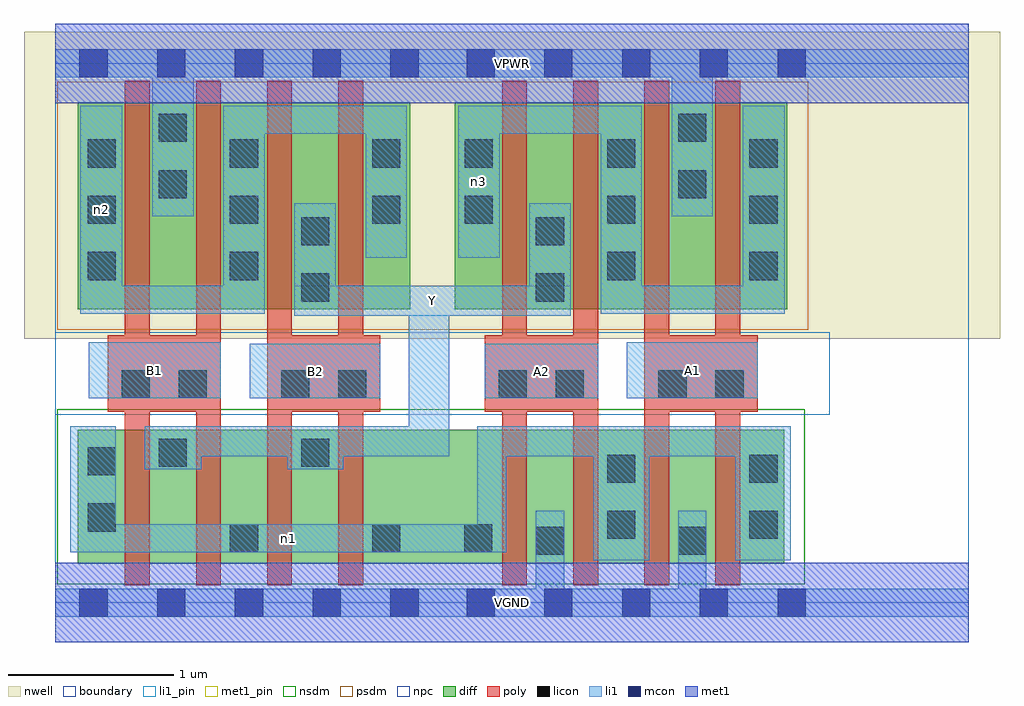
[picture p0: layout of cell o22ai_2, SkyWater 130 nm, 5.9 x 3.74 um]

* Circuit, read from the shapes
.subckt o22ai_2 A1 A2 B1 B2 VGND VPWR Y n1 n2 n3
XM1 Y B1 n1 VSUBS sky130_fd_pr__nfet_01v8 w=0.81 l=0.15 m=2
XM2 Y B2 n1 VSUBS sky130_fd_pr__nfet_01v8 w=0.81 l=0.15 m=2
XM3 VGND A2 n1 VSUBS sky130_fd_pr__nfet_01v8 w=0.81 l=0.15 m=2
XM4 VGND A1 n1 VSUBS sky130_fd_pr__nfet_01v8 w=0.81 l=0.15 m=2
XM5 VPWR B1 n2 n4 sky130_fd_pr__pfet_01v8 w=1.25 l=0.15 m=2
XM6 Y B2 n2 n4 sky130_fd_pr__pfet_01v8 w=1.25 l=0.15 m=2
XM7 Y A2 n3 n4 sky130_fd_pr__pfet_01v8 w=1.25 l=0.15 m=2
XM8 VPWR A1 n3 n4 sky130_fd_pr__pfet_01v8 w=1.25 l=0.15 m=2
.ends

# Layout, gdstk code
import gdstk
lib = gdstk.Library(unit=1e-6, precision=1e-09)
def R(c, l, rs):  # rectangles x0, y0, x1, y1
    for r in rs: c.add(gdstk.rectangle(r[:2], r[2:], *l))
def A(c, l, x, y, w, h, nx, ny, dx, dy):  # array of equal rectangles
    R(c, l, [(x+i*dx, y+j*dy, x+i*dx+w, y+j*dy+h) for i in range(nx) for j in range(ny)])
nwell = (64, 20)
diff = (65, 20)
poly = (66, 20)
licon = (66, 44)
li1_pin = (67, 16)
li1 = (67, 20)
mcon = (67, 44)
met1_pin = (68, 16)
met1 = (68, 20)
nsdm = (93, 44)
psdm = (94, 20)
npc = (95, 20)
boundary = (235, 4)

o22ai_2 = lib.new_cell('o22ai_2')
R(o22ai_2, nwell, [(-0.19,1.595,5.71,3.45), (0,1.595,5.52,3.45)])
R(o22ai_2, diff, [(0.135,0.235,4.405,1.045), (0.135,1.775,2.145,3.025), (2.415,1.775,4.425,3.025)])
A(o22ai_2, poly, 0.42, 0.105, 0.15, 3.05, 4, 1, 0.43, 0)
A(o22ai_2, poly, 2.7, 0.105, 0.15, 3.05, 4, 1, 0.43, 0)
R(o22ai_2, poly, [(0.315,1.155,1,1.615), (1.28,1.155,1.965,1.615), (2.595,1.155,3.28,1.615), (3.56,1.155,4.245,1.615)])
A(o22ai_2, licon, 0.195, 2.29, 0.17, 0.17, 3, 2, 0.86, 0.34)
A(o22ai_2, licon, 2.475, 2.29, 0.17, 0.17, 3, 2, 0.86, 0.34)
R(o22ai_2, licon, [(2.905,0.29,3.075,0.46), (3.765,0.29,3.935,0.46), (1.055,0.305,1.225,0.475), (1.915,0.305,2.085,0.475), (2.47,0.305,2.64,0.475), (3.335,0.385,3.505,0.555), (4.195,0.385,4.365,0.555), (0.195,0.43,0.365,0.6), (3.335,0.725,3.505,0.895), (4.195,0.725,4.365,0.895), (0.195,0.77,0.365,0.94), (0.625,0.82,0.795,0.99), (1.485,0.82,1.655,0.99), (0.4,1.235,0.57,1.405), (0.745,1.235,0.915,1.405), (1.365,1.235,1.535,1.405), (1.71,1.235,1.88,1.405), (2.68,1.235,2.85,1.405), (3.025,1.235,3.195,1.405), (3.645,1.235,3.815,1.405), (3.99,1.235,4.16,1.405), (1.485,1.82,1.655,1.99), (2.905,1.82,3.075,1.99), (0.195,1.95,0.365,2.12), (1.055,1.95,1.225,2.12), (3.335,1.95,3.505,2.12), (4.195,1.95,4.365,2.12), (1.485,2.16,1.655,2.33), (2.905,2.16,3.075,2.33), (0.625,2.445,0.795,2.615), (3.765,2.445,3.935,2.615), (0.625,2.785,0.795,2.955), (3.765,2.785,3.935,2.955)])
R(o22ai_2, li1_pin, [(0.2,1.235,1,1.575), (1.175,1.235,1.965,1.565), (2.595,1.235,3.28,1.565), (3.455,1.235,4.245,1.575), (1.445,1.735,3.115,1.915)])
R(o22ai_2, li1, [(0,-0.085,5.52,0.085), (2.905,-0.085,3.075,0.555), (3.765,-0.085,3.935,0.555), (3.25,0.255,3.59,1.065), (4.11,0.255,4.445,1.065), (0.09,0.305,2.725,0.475), (0.09,0.305,0.365,1.065), (2.55,0.305,2.725,1.065), (0.54,0.805,0.88,1.065), (1.4,0.805,1.74,1.065), (0.54,0.885,2.38,1.065), (2.135,0.885,2.38,1.915), (2.55,0.885,4.445,1.065), (0.2,1.235,1,1.575), (1.175,1.235,1.965,1.565), (2.595,1.235,3.28,1.565), (3.455,1.235,4.245,1.575), (1.445,1.735,3.115,1.915), (1.445,1.735,1.695,2.415), (2.865,1.735,3.115,2.415), (0.15,1.745,0.405,3.005), (0.15,1.745,1.265,1.915), (1.015,1.745,1.265,3.005), (3.295,1.745,4.41,1.915), (3.295,1.745,3.545,3.005), (4.155,1.745,4.41,3.005), (1.875,2.085,2.125,3.005), (2.435,2.085,2.685,3.005), (0.585,2.335,0.835,3.345), (3.725,2.335,3.975,3.345), (1.015,2.835,2.125,3.005), (2.435,2.835,3.545,3.005), (0,3.175,5.52,3.345)])
A(o22ai_2, mcon, 0.145, -0.085, 0.17, 0.17, 5, 2, 0.47, 3.26)
A(o22ai_2, mcon, 2.485, -0.085, 0.17, 0.17, 5, 2, 0.47, 3.26)
R(o22ai_2, met1_pin, [(0,-0.24,5.52,0.24), (0,3.02,5.52,3.5)])
R(o22ai_2, met1, [(0,-0.24,5.52,0.24), (0,3.02,5.52,3.5)])
R(o22ai_2, nsdm, [(0.01,0.11,4.53,1.17)])
R(o22ai_2, psdm, [(0.01,1.65,4.55,3.15)])
R(o22ai_2, npc, [(0,1.135,4.68,1.635)])
R(o22ai_2, boundary, [(0,0,5.52,3.26)])
o22ai_2.add(gdstk.Label('A1', (3.85,1.405), layer=67, texttype=5))
o22ai_2.add(gdstk.Label('A2', (2.937,1.4), layer=67, texttype=5))
o22ai_2.add(gdstk.Label('B1', (0.6,1.405), layer=67, texttype=5))
o22ai_2.add(gdstk.Label('B2', (1.57,1.4), layer=67, texttype=5))
o22ai_2.add(gdstk.Label('Y', (2.28,1.825), layer=67, texttype=5))
o22ai_2.add(gdstk.Label('n1', (1.407,0.39), layer=67, texttype=5))
o22ai_2.add(gdstk.Label('n2', (0.277,2.375), layer=67, texttype=5))
o22ai_2.add(gdstk.Label('n3', (2.56,2.545), layer=67, texttype=5))
o22ai_2.add(gdstk.Label('VPWR', (2.76,3.26), layer=68, texttype=5))
o22ai_2.add(gdstk.Label('VGND', (2.76,0), layer=68, texttype=5))
o22ai_2.add(gdstk.Label('A1', (3.85,1.405), layer=67, texttype=16))
o22ai_2.add(gdstk.Label('A2', (2.937,1.4), layer=67, texttype=16))
o22ai_2.add(gdstk.Label('B1', (0.6,1.405), layer=67, texttype=16))
o22ai_2.add(gdstk.Label('B2', (1.57,1.4), layer=67, texttype=16))
o22ai_2.add(gdstk.Label('Y', (2.28,1.825), layer=67, texttype=16))
o22ai_2.add(gdstk.Label('VPWR', (2.76,3.26), layer=68, texttype=16))
o22ai_2.add(gdstk.Label('VGND', (2.76,0), layer=68, texttype=16))

lib.write_gds('o22ai_2.gds')
